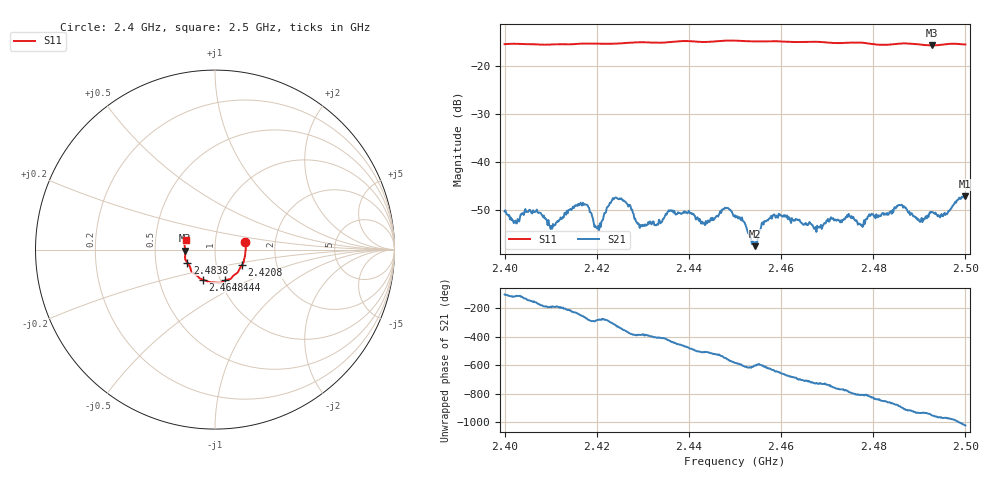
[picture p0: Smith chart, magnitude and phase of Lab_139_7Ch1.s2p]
# Hz S RI R 50
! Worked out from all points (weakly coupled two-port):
!   601 points, 2.4 GHz to 2.5 GHz, reference 50 ohm
!   highest |S21| = -47.22 dB at 2.4998 GHz (marker M1); lowest = -57.7 dB at 2.4543 GHz (marker M2)
!   lowest |S11| = -15.6 dB at 2.4927 GHz (marker M3), VSWR 1.40, Z = 35.7 - j0.464 ohm
!   |S11| at or under -10 dB: start of sweep to end of sweep
!   S12 and S22 are empty: the file has one direction only
!   S11 on the Smith chart (normalised r, x): 2.4 GHz: 1.39, +0.12; 2.4208 GHz: 1.33, -0.24; 2.444 GHz: 1.05, -0.37; 2.4648 GHz: 0.83, -0.29; 2.4838 GHz: 0.73, -0.11; 2.5 GHz: 0.72, +0.08
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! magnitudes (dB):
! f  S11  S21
! 2.4 GHz  -15.3  -50.4
! 2.4022 GHz  -15.2  -52.5
! 2.4073 GHz  -15.4  -50.7
! 2.4103 GHz  -15.4  -54.0
! 2.4167 GHz  -15.2  -49.0
! 2.4208 GHz  -15.2  -53.7
! 2.424 GHz  -15.2  -47.5
! 2.4293 GHz  -14.9  -53.9
! 2.4333 GHz  -15.0  -53.2
! 2.436 GHz  -14.9  -50.2
! 2.444 GHz  -14.8  -52.8
! 2.448 GHz  -14.6  -49.7
! 2.45 GHz  -14.6  -51.2
! 2.4543 GHz  -14.7  -57.7
! 2.4582 GHz  -14.7  -51.3
! 2.4648 GHz  -14.9  -53.2
! 2.4667 GHz  -14.8  -53.2
! 2.4833 GHz  -15.4  -51.0
! 2.4838 GHz  -15.4  -50.4
! 2.4927 GHz  -15.6  -50.5
! 2.4998 GHz  -15.4  -47.2
! 2.5 GHz  -15.4  -47.6
